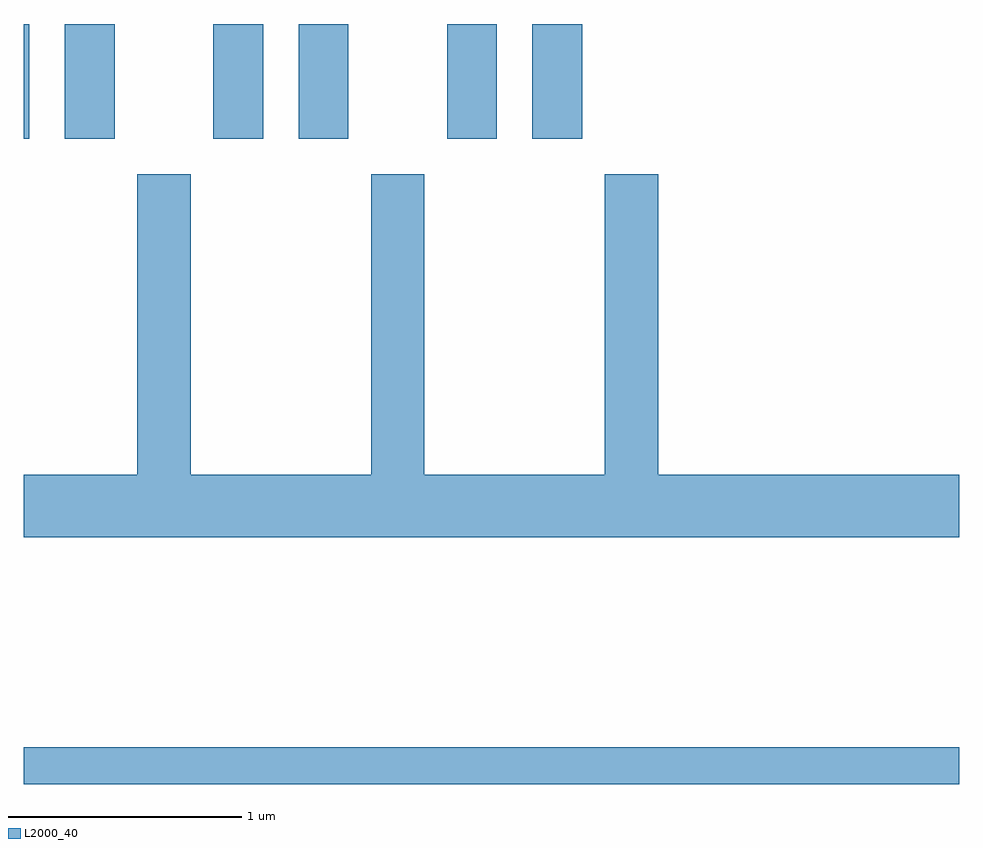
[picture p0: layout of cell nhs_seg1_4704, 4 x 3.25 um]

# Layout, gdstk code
import gdstk
lib = gdstk.Library(unit=1e-6, precision=1e-09)
def R(c, l, rs):  # rectangles x0, y0, x1, y1
    for r in rs: c.add(gdstk.rectangle(r[:2], r[2:], *l))
def P(c, l, *ps):  # polygons
    for p in ps: c.add(gdstk.Polygon(p, *l))
L2000_40 = (2000, 40)

nhs_seg1_4704 = lib.new_cell('nhs_seg1_4704')
R(nhs_seg1_4704, L2000_40, [(325.611,958.461,329.611,958.619), (325.611,961.221,325.634,961.712), (325.786,961.221,325.999,961.712), (326.421,961.221,326.634,961.712), (326.786,961.221,326.999,961.712), (327.421,961.221,327.634,961.712), (327.786,961.221,327.999,961.712)])
P(nhs_seg1_4704, L2000_40, [(329.611,959.784),(328.324,959.784),(328.324,961.069),(328.096,961.069),(328.096,959.784),(327.324,959.784),(327.324,961.069),(327.096,961.069),(327.096,959.784),(326.324,959.784),(326.324,961.069),(326.096,961.069),(326.096,959.784),(325.611,959.784),(325.611,959.516),(329.611,959.516)])

lib.write_gds('nhs_seg1_4704.gds')
